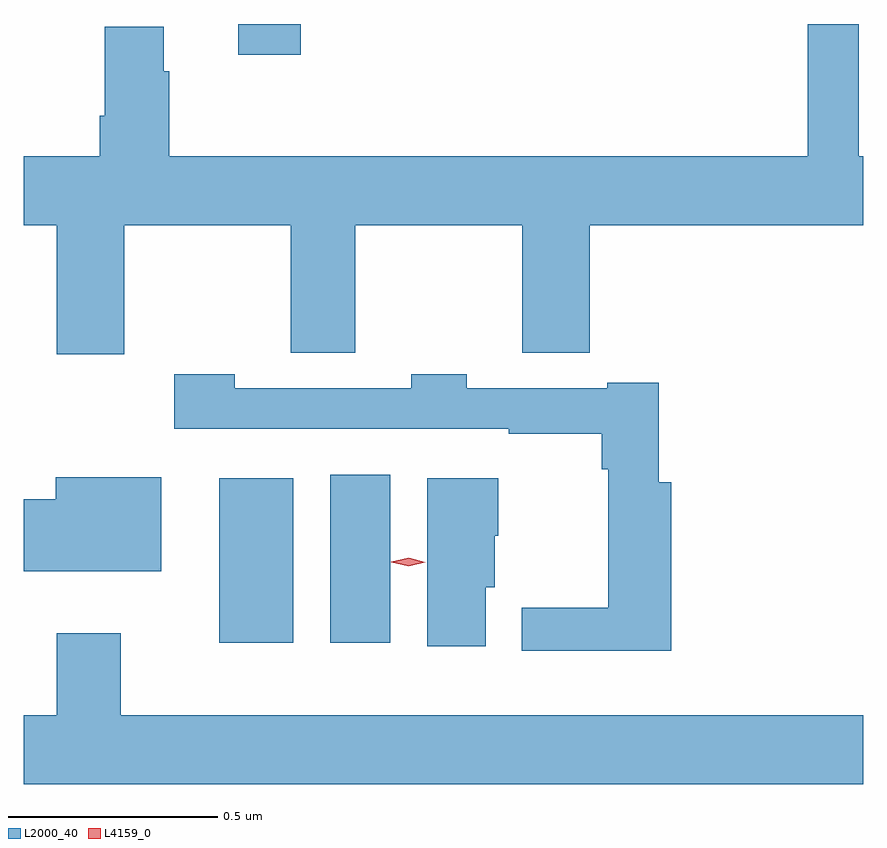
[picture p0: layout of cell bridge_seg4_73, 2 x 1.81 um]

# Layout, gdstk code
import gdstk
lib = gdstk.Library(unit=1e-6, precision=1e-09)
def R(c, l, rs):  # rectangles x0, y0, x1, y1
    for r in rs: c.add(gdstk.rectangle(r[:2], r[2:], *l))
def P(c, l, *ps):  # polygons
    for p in ps: c.add(gdstk.Polygon(p, *l))
L2000_40 = (2000, 40)
L4159_0 = (4159, 0)

bridge_seg4_73 = lib.new_cell('bridge_seg4_73')
R(bridge_seg4_73, L2000_40, [(581.336,830.456,581.512,830.848), (581.6,830.456,581.743,830.857), (581.381,831.858,581.53,831.931)])
P(bridge_seg4_73, L2000_40, [(582.87,831.616),(582.859,831.616),(582.859,831.931),(582.738,831.931),(582.738,831.616),(581.216,831.616),(581.216,831.818),(581.203,831.818),(581.203,831.925),(581.063,831.925),(581.063,831.712),(581.051,831.712),(581.051,831.616),(580.87,831.616),(580.87,831.452),(580.949,831.452),(580.949,831.144),(581.109,831.144),(581.109,831.452),(581.506,831.452),(581.506,831.148),(581.66,831.148),(581.66,831.452),(582.058,831.452),(582.058,831.148),(582.218,831.148),(582.218,831.452),(582.87,831.452)],
  [(582.413,830.839),(582.383,830.839),(582.383,831.076),(582.26,831.076),(582.26,831.063),(581.925,831.063),(581.925,831.096),(581.793,831.096),(581.793,831.063),(581.373,831.063),(581.373,831.096),(581.229,831.096),(581.229,830.967),(582.025,830.967),(582.025,830.955),(582.247,830.955),(582.247,830.87),(582.262,830.87),(582.262,830.54),(582.057,830.54),(582.057,830.438),(582.413,830.438)],
  [(581.197,830.851),(580.946,830.851),(580.946,830.798),(580.87,830.798),(580.87,830.627),(581.197,830.627)],
  [(581.971,830.589),(581.992,830.589),(581.992,830.712),(582.001,830.712),(582.001,830.848),(581.831,830.848),(581.831,830.448),(581.971,830.448)],
  [(582.87,830.284),(581.101,830.284),(581.101,830.479),(580.949,830.479),(580.949,830.284),(580.87,830.284),(580.87,830.12),(582.87,830.12)])
P(bridge_seg4_73, L4159_0, [(581.787,830.639),(581.746,830.649),(581.746,830.649),(581.746,830.65),(581.787,830.659),(581.827,830.649),(581.827,830.649),(581.827,830.649)])

lib.write_gds('bridge_seg4_73.gds')
